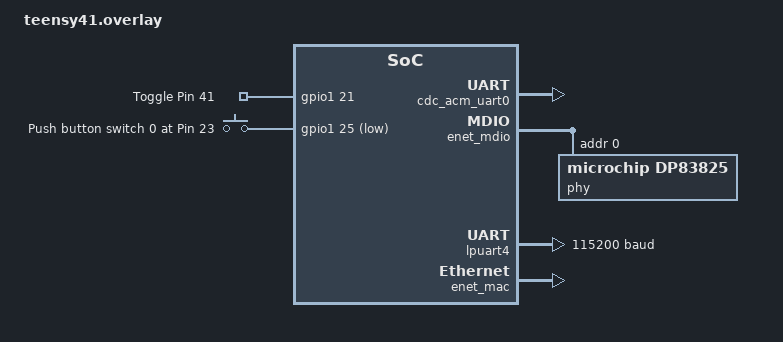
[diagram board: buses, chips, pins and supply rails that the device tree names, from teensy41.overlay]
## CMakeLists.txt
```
# SPDX-License-Identifier: Apache-2.0

cmake_minimum_required(VERSION 3.20.0)
find_package(Zephyr REQUIRED HINTS $ENV{ZEPHYR_BASE})
project(dhcpv4_client)
include(${ZEPHYR_BASE}/samples/subsys/usb/common/common.cmake)
FILE(GLOB app_sources src/*.c)
target_sources(app PRIVATE ${app_sources})
```

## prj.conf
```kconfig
CONFIG_NETWORKING=y
CONFIG_NET_HOSTNAME_ENABLE=y
CONFIG_NET_IPV6=n
CONFIG_NET_IPV4=y
CONFIG_NET_ARP=y
CONFIG_NET_UDP=y
CONFIG_NET_DHCPV4=y
CONFIG_NET_DHCPV4_OPTION_CALLBACKS=y
CONFIG_DNS_RESOLVER=y

CONFIG_TEST_RANDOM_GENERATOR=y

CONFIG_INIT_STACKS=y

CONFIG_NET_MGMT=y
CONFIG_NET_MGMT_EVENT=y

CONFIG_NET_LOG=y
CONFIG_LOG=y

CONFIG_SLIP_STATISTICS=n
CONFIG_NET_SHELL=y

CONFIG_GPIO=y
CONFIG_STDOUT_CONSOLE=y
CONFIG_USB_DEVICE_STACK=y
CONFIG_USB_DEVICE_PRODUCT="Zephyr CDC ACM sample"
CONFIG_USB_DEVICE_PID=0x0001
CONFIG_LOG=y
CONFIG_USB_DRIVER_LOG_LEVEL_ERR=y
CONFIG_USB_DEVICE_LOG_LEVEL_ERR=y
CONFIG_SERIAL=y
CONFIG_UART_INTERRUPT_DRIVEN=y
CONFIG_UART_LINE_CTRL=y
CONFIG_USB_DEVICE_INITIALIZE_AT_BOOT=n
```

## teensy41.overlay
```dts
/*
 * Copyright (c) 2020, Bernhard Kraemer
 *
 * SPDX-License-Identifier: Apache-2.0
 */


/ {
    aliases {
      toggle = &toggle_gpio;
      sw0 = &button0;
    };

    chosen {
      zephyr,console = &cdc_acm_uart0;
    };

    app-gpios {
      compatible = "gpio-keys";
      toggle_gpio: toggle-gpio {
        gpios = <&gpio1 21 GPIO_ACTIVE_HIGH>;
        label = "Toggle Pin 41";
      };
      button0: button_0 {
        gpios = < &gpio1 25 GPIO_ACTIVE_LOW >;
        label = "Push button switch 0 at Pin 23";
      };
    };
};

&zephyr_udc0 {
  cdc_acm_uart0: cdc_acm_uart0 {
    compatible = "zephyr,cdc-acm-uart";
    label = "CDC_ACM_0";
  };
};
&enet_mdio{
  status = "okay";
};
&lpuart6 {
  status = "disabled";
};

&lpuart4 {
  status = "okay";
  current-speed = < 115200 >;
};

// &enet {
//   status = "okay";
// };

// &enet2{
//   status = "okay";
// };

&enet_mac {
  status = "okay";
	// pinctrl-0 = <&pinmux_enet>;
	// pinctrl-names = "default";
	// zephyr,random-mac-address;
	// phy-connection-type = "rmii";
	// phy-handle = <&phy>;
};

// &phy{
//   status = "okay";

// };

&enet_mdio {
	status = "okay";
	pinctrl-0 = <&pinmux_enet>;
	pinctrl-names = "default";
	phy: phy@0 {
		// compatible = "microchip,ksz8081";
    compatible = "microchip,dp83825";
		reg = <0>;
		status = "okay";
    // mc,reset-gpio = <&gpio1 9 GPIO_ACTIVE_HIGH>;
		// mc,interrupt-gpio = <&gpio1 10 GPIO_ACTIVE_HIGH>;
		mc,interface-type = "rmii";
	};
};

// &enet_mdio {
// 	status = "okay";
// 	pinctrl-0 = <&pinmux_enet_mdio>;
// 	pinctrl-names = "default";
// 	phy: phy@0 {
// 		compatible = "microchip,ksz8081";
// 		reg = <0>;
// 		status = "okay";
// 		mc,reset-gpio = <&gpio1 9 GPIO_ACTIVE_HIGH>;
// 		mc,interrupt-gpio = <&gpio1 10 GPIO_ACTIVE_HIGH>;
// 		mc,interface-type = "rmii";
// 	};
// };
```

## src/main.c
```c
/* Networking DHCPv4 client */

/*
 * Copyright (c) 2017 ARM Ltd.
 * Copyright (c) 2016 Intel Corporation.
 *
 * SPDX-License-Identifier: Apache-2.0
 */

#include <zephyr/logging/log.h>
LOG_MODULE_REGISTER(net_dhcpv4_client_sample, LOG_LEVEL_DBG);

#include <zephyr/kernel.h>
#include <zephyr/linker/sections.h>
#include <errno.h>
#include <stdio.h>

#include <zephyr/net/net_if.h>
#include <zephyr/net/net_core.h>
#include <zephyr/net/net_context.h>
#include <zephyr/net/net_mgmt.h>
#include <zephyr/usb/usb_device.h>
#include <zephyr/drivers/uart.h>
#include <zephyr/console/console.h>
#include <zephyr/device.h>

#define DHCP_OPTION_NTP (42)

BUILD_ASSERT(DT_NODE_HAS_COMPAT(DT_CHOSEN(zephyr_console), zephyr_cdc_acm_uart),
	     "Console device is not ACM CDC UART device");

#if defined(CONFIG_USB_DEVICE_STACK_NEXT)
static struct usbd_contex *sample_usbd;


static int enable_usb_device_next(void)
{
	int err;

	sample_usbd = sample_usbd_init_device(NULL);
	if (sample_usbd == NULL) {
		return -ENODEV;
	}

	err = usbd_enable(sample_usbd);
	if (err) {
		return err;
	}

	return 0;
}
#endif /* IS_ENABLED(CONFIG_USB_DEVICE_STACK_NEXT) */


static uint8_t ntp_server[4];

static struct net_mgmt_event_callback mgmt_cb;

static struct net_dhcpv4_option_callback dhcp_cb;

static void start_dhcpv4_client(struct net_if *iface, void *user_data)
{
	ARG_UNUSED(user_data);

	LOG_INF("Start on %s: index=%d", net_if_get_device(iface)->name,
		net_if_get_by_iface(iface));
	net_dhcpv4_start(iface);
}

static void handler(struct net_mgmt_event_callback *cb,
		    uint32_t mgmt_event,
		    struct net_if *iface)
{
	int i = 0;

	if (mgmt_event != NET_EVENT_IPV4_ADDR_ADD) {
		return;
	}

	for (i = 0; i < NET_IF_MAX_IPV4_ADDR; i++) {
		char buf[NET_IPV4_ADDR_LEN];

		if (iface->config.ip.ipv4->unicast[i].ipv4.addr_type !=
							NET_ADDR_DHCP) {
			continue;
		}

		LOG_INF("   Address[%d]: %s", net_if_get_by_iface(iface),
			net_addr_ntop(AF_INET,
			    &iface->config.ip.ipv4->unicast[i].ipv4.address.in_addr,
						  buf, sizeof(buf)));
		LOG_INF("    Subnet[%d]: %s", net_if_get_by_iface(iface),
			net_addr_ntop(AF_INET,
				       &iface->config.ip.ipv4->unicast[i].netmask,
				       buf, sizeof(buf)));
		LOG_INF("    Router[%d]: %s", net_if_get_by_iface(iface),
			net_addr_ntop(AF_INET,
						 &iface->config.ip.ipv4->gw,
						 buf, sizeof(buf)));
		LOG_INF("Lease time[%d]: %u seconds", net_if_get_by_iface(iface),
			iface->config.dhcpv4.lease_time);
	}
}

static void option_handler(struct net_dhcpv4_option_callback *cb,
			   size_t length,
			   enum net_dhcpv4_msg_type msg_type,
			   struct net_if *iface)
{
	char buf[NET_IPV4_ADDR_LEN];

	LOG_INF("DHCP Option %d: %s", cb->option,
		net_addr_ntop(AF_INET, cb->data, buf, sizeof(buf)));
}

int main(void)
{
	#if defined(CONFIG_USB_DEVICE_STACK_NEXT)
	if (enable_usb_device_next()) {
		return 0;
	}
#else
	if (usb_enable(NULL)) {
		return 0;
	}
#endif

	LOG_INF("Run dhcpv4 client");

	
	net_mgmt_init_event_callback(&mgmt_cb, handler,
				     NET_EVENT_IPV4_ADDR_ADD);
	net_mgmt_add_event_callback(&mgmt_cb);

	net_dhcpv4_init_option_callback(&dhcp_cb, option_handler,
					DHCP_OPTION_NTP, ntp_server,
					sizeof(ntp_server));

	net_dhcpv4_add_option_callback(&dhcp_cb);

	net_if_foreach(start_dhcpv4_client, NULL);
}
```
